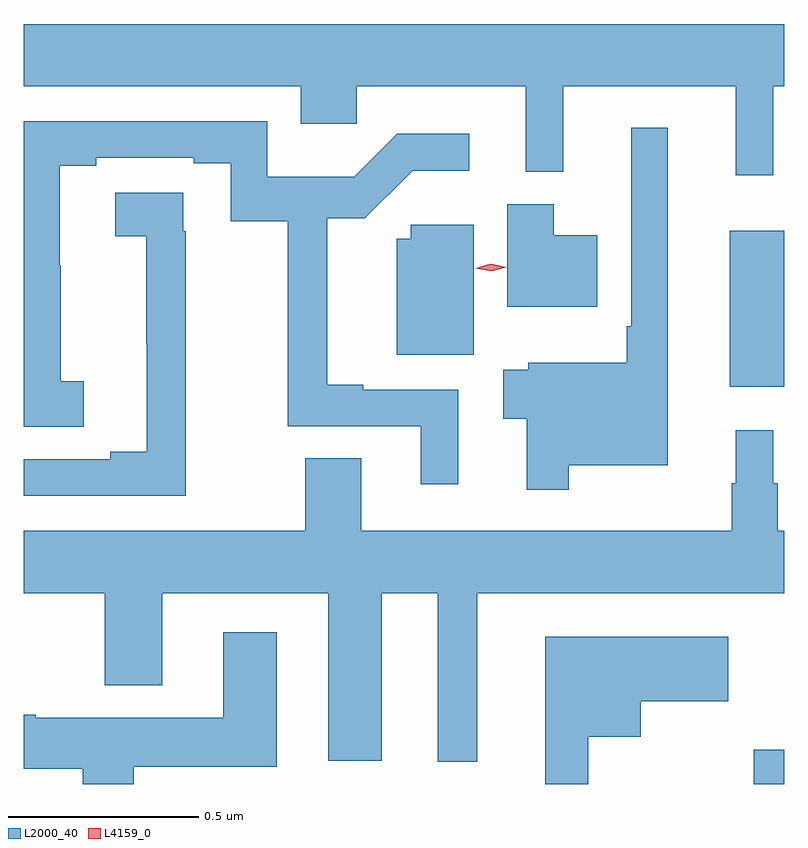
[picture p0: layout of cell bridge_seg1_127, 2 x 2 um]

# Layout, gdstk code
import gdstk
lib = gdstk.Library(unit=1e-6, precision=1e-09)
def R(c, l, rs):  # rectangles x0, y0, x1, y1
    for r in rs: c.add(gdstk.rectangle(r[:2], r[2:], *l))
def P(c, l, *ps):  # polygons
    for p in ps: c.add(gdstk.Polygon(p, *l))
L2000_40 = (2000, 40)
L4159_0 = (4159, 0)

bridge_seg1_127 = lib.new_cell('bridge_seg1_127')
R(bridge_seg1_127, L2000_40, [(123.601,527.254,123.682,527.344), (123.539,528.299,123.682,528.709)])
P(bridge_seg1_127, L2000_40, [(123.653,529.088),(123.682,529.088),(123.682,529.252),(121.682,529.252),(121.682,529.088),(122.411,529.088),(122.411,528.99),(122.558,528.99),(122.558,529.088),(123.002,529.088),(123.002,528.863),(123.101,528.863),(123.101,529.088),(123.554,529.088),(123.554,528.855),(123.653,528.855)],
  [(122.825,528.291),(122.575,528.291),(122.575,528.304),(122.48,528.304),(122.48,528.741),(122.579,528.741),(122.705,528.866),(122.854,528.866),(122.854,528.963),(122.664,528.963),(122.551,528.85),(122.322,528.85),(122.322,528.996),(121.682,528.996),(121.682,528.193),(121.84,528.193),(121.84,528.313),(121.779,528.313),(121.779,528.617),(121.777,528.617),(121.777,528.88),(121.873,528.88),(121.873,528.9),(122.129,528.9),(122.129,528.886),(122.226,528.886),(122.226,528.733),(122.377,528.733),(122.377,528.195),(122.726,528.195),(122.726,528.042),(122.825,528.042)],
  [(123.115,528.092),(123.376,528.092),(123.376,528.979),(123.279,528.979),(123.279,528.457),(123.267,528.457),(123.267,528.361),(123.009,528.361),(123.009,528.343),(122.943,528.343),(122.943,528.214),(123.005,528.214),(123.005,528.027),(123.115,528.027)],
  [(122.108,528.707),(122.102,528.707),(122.102,528.809),(121.923,528.809),(121.923,528.694),(122.005,528.694),(122.005,528.411),(122.006,528.411),(122.006,528.128),(121.91,528.128),(121.91,528.108),(121.682,528.108),(121.682,528.012),(122.108,528.012)],
  [(123.19,528.697),(123.076,528.697),(123.076,528.778),(122.954,528.778),(122.954,528.509),(123.19,528.509)],
  [(122.865,528.487),(122.866,528.487),(122.866,528.724),(122.7,528.724),(122.7,528.688),(122.663,528.688),(122.663,528.383),(122.865,528.383)],
  [(122.569,528.11),(122.422,528.11),(122.422,527.92),(121.682,527.92),(121.682,527.756),(121.895,527.756),(121.895,527.513),(122.047,527.513),(122.047,527.756),(122.483,527.756),(122.483,527.315),(122.623,527.315),(122.623,527.756),(122.771,527.756),(122.771,527.312),(122.875,527.312),(122.875,527.756),(123.682,527.756),(123.682,527.92),(123.664,527.92),(123.664,528.044),(123.653,528.044),(123.653,528.184),(123.554,528.184),(123.554,528.044),(123.543,528.044),(123.543,527.92),(122.569,527.92)],
  [(121.972,527.3),(122.347,527.3),(122.347,527.653),(122.207,527.653),(122.207,527.428),(121.714,527.428),(121.714,527.436),(121.682,527.436),(121.682,527.294),(121.838,527.294),(121.838,527.254),(121.972,527.254)],
  [(123.167,527.378),(123.304,527.378),(123.304,527.471),(123.535,527.471),(123.535,527.641),(123.053,527.641),(123.053,527.254),(123.167,527.254)])
P(bridge_seg1_127, L4159_0, [(122.911,528.602),(122.87,528.61),(122.87,528.61),(122.87,528.61),(122.91,528.622),(122.951,528.613),(122.951,528.613),(122.951,528.613)])

lib.write_gds('bridge_seg1_127.gds')
